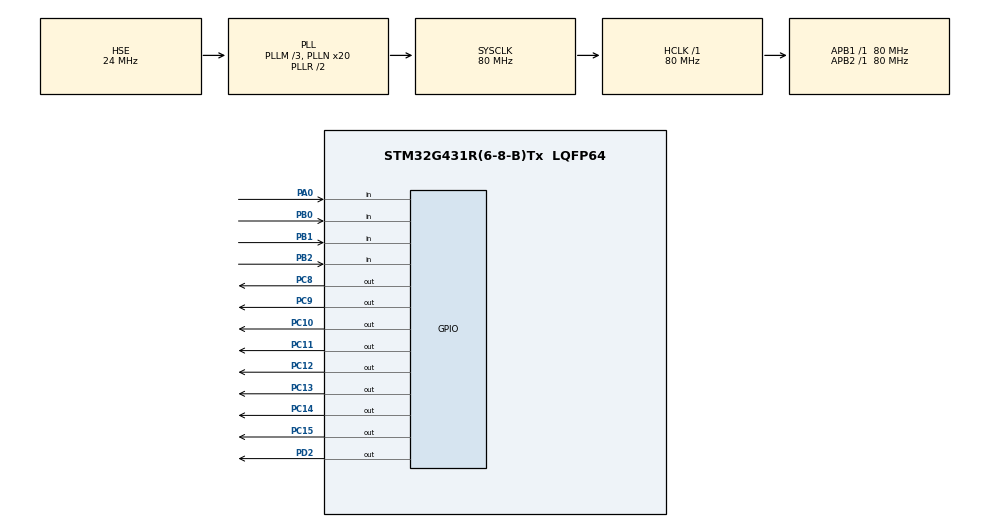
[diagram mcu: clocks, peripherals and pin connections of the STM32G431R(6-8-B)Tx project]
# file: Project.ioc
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Mcu.Family=STM32G4
Mcu.Name=STM32G431R(6-8-B)Tx
Mcu.Package=LQFP64
NVIC.PriorityGroup=NVIC_PRIORITYGROUP_4
NVIC.TIM3_IRQn=true\:0\:0\:false\:false\:true\:true\:true
PA0.GPIO_Mode=GPIO_MODE_INPUT
PA0.GPIO_PuPd=GPIO_PULLUP
PA0.Signal=GPIO_Input
PA13.Mode=Serial_Wire
PA13.Signal=SYS_JTMS-SWDIO
PA14.Mode=Serial_Wire
PA14.Signal=SYS_JTCK-SWCLK
PB0.GPIO_Mode=GPIO_MODE_INPUT
PB0.GPIO_PuPd=GPIO_PULLUP
PB0.Signal=GPIO_Input
PB1.GPIO_Mode=GPIO_MODE_INPUT
PB1.GPIO_PuPd=GPIO_PULLUP
PB1.Signal=GPIO_Input
PB2.GPIO_Mode=GPIO_MODE_INPUT
PB2.GPIO_PuPd=GPIO_PULLUP
PB2.Signal=GPIO_Input
PC10.PinState=GPIO_PIN_SET
PC10.Signal=GPIO_Output
PC11.PinState=GPIO_PIN_SET
PC11.Signal=GPIO_Output
PC12.PinState=GPIO_PIN_SET
PC12.Signal=GPIO_Output
PC13.PinState=GPIO_PIN_SET
PC13.Signal=GPIO_Output
PC14-OSC32_IN.PinState=GPIO_PIN_SET
PC14-OSC32_IN.Signal=GPIO_Output
PC15-OSC32_OUT.PinState=GPIO_PIN_SET
PC15-OSC32_OUT.Signal=GPIO_Output
PC8.PinState=GPIO_PIN_SET
PC8.Signal=GPIO_Output
PC9.PinState=GPIO_PIN_SET
PC9.Signal=GPIO_Output
PD2.Signal=GPIO_Output
PF0-OSC_IN.Mode=HSE-External-Oscillator
PF0-OSC_IN.Signal=RCC_OSC_IN
PF1-OSC_OUT.Mode=HSE-External-Oscillator
PF1-OSC_OUT.Signal=RCC_OSC_OUT
ProjectManager.HeapSize=0x200
ProjectManager.StackSize=0x400
ProjectManager.TargetToolchain=MDK-ARM V5.32
RCC.ADC12Freq_Value=80000000
RCC.AHBFreq_Value=80000000
RCC.APB1Freq_Value=80000000
RCC.APB1TimFreq_Value=80000000
RCC.APB2Freq_Value=80000000
RCC.APB2TimFreq_Value=80000000
RCC.CortexFreq_Value=80000000
RCC.EXTERNAL_CLOCK_VALUE=12288000
RCC.HCLKFreq_Value=80000000
RCC.HSE_VALUE=24000000
RCC.HSI48_VALUE=48000000
RCC.HSI_VALUE=16000000
RCC.LSE_VALUE=32768
RCC.PLLM=RCC_PLLM_DIV3
RCC.PLLN=20
RCC.PLLSourceVirtual=RCC_PLLSOURCE_HSE
RCC.SYSCLKFreq_VALUE=80000000
RCC.SYSCLKSource=RCC_SYSCLKSOURCE_PLLCLK
RCC.USBFreq_Value=80000000
RCC.VCOOutputFreq_Value=160000000
TIM3.PeriodNoDither=10000-1
TIM3.Prescaler=80-1
VP_SYS_VS_DBSignals.Mode=DisableDeadBatterySignals
VP_TIM3_VS_ClockSourceINT.Mode=Internal
board=custom

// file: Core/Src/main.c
/* USER CODE BEGIN Header */
/**
  ******************************************************************************
  * @file           : main.c
  * @brief          : Main program body
  ******************************************************************************
  * @attention
  *
  * <h2><center>&copy; Copyright (c) 2023 STMicroelectronics.
  * All rights reserved.</center></h2>
  *
  * This software component is licensed by ST under BSD 3-Clause license,
  * the "License"; You may not use this file except in compliance with the
  * License. You may obtain a copy of the License at:
  *                        opensource.org/licenses/BSD-3-Clause
  *
  ******************************************************************************
  */
/* USER CODE END Header */
#include "main.h"
#include "tim.h"
#include "gpio.h"

/* USER CODE BEGIN Includes */
#include "led.h"
#include "lcd.h"
#include "stdio.h"
#include "key.h"
/* USER CODE END Includes */

void SystemClock_Config(void);

int main(void)
{

  /* MCU Configuration--------------------------------------------------------*/

  /* Reset of all peripherals, Initializes the Flash interface and the Systick. */
  HAL_Init();

  /* Configure the system clock */
  SystemClock_Config();

  /* Initialize all configured peripherals */
  MX_GPIO_Init();
  MX_TIM3_Init();
  /* USER CODE BEGIN 2 */
	LED_Init();
	LCD_Init();
	LCD_Clear(Black);
	LCD_SetBackColor(Black);
	LCD_SetTextColor(White);

	HAL_TIM_Base_Start_IT(&htim3);

	char text[30];
  /* USER CODE END 2 */

  /* Infinite loop */
  /* USER CODE BEGIN WHILE */
  while (1)
  {
//		uint8_t i = 15;
		sprintf(text, "State: %d", myKey[1].KeyState);
		LCD_DisplayStringLine(Line4,(unsigned char *)text);
		if(myKey[1].KeyEvent == LongHold){
			LED_Disp(0x01);
			HAL_Delay(500);
			LED_Disp(0x00);
			myKey[1].KeyEvent = NoneEvent;
		}
		if(myKey[1].KeyEvent == SingleClick){
			LED_Disp(0x02);
			HAL_Delay(500);
			LED_Disp(0x00);
			myKey[1].KeyEvent = NoneEvent;
		}
		if(myKey[1].KeyEvent == DoubleClick){
			LED_Disp(0x03);
			HAL_Delay(500);
			LED_Disp(0x00);
			myKey[1].KeyEvent = NoneEvent;
		}
    /* USER CODE END WHILE */

  }
}

void SystemClock_Config(void)
{
  RCC_OscInitTypeDef RCC_OscInitStruct = {0};
  RCC_ClkInitTypeDef RCC_ClkInitStruct = {0};

  /** Configure the main internal regulator output voltage
  */
  HAL_PWREx_ControlVoltageScaling(PWR_REGULATOR_VOLTAGE_SCALE1);
  /** Initializes the RCC Oscillators according to the specified parameters
  * in the RCC_OscInitTypeDef structure.
  */
  RCC_OscInitStruct.OscillatorType = RCC_OSCILLATORTYPE_HSE;
  RCC_OscInitStruct.HSEState = RCC_HSE_ON;
  RCC_OscInitStruct.PLL.PLLState = RCC_PLL_ON;
  RCC_OscInitStruct.PLL.PLLSource = RCC_PLLSOURCE_HSE;
  RCC_OscInitStruct.PLL.PLLM = RCC_PLLM_DIV3;
  RCC_OscInitStruct.PLL.PLLN = 20;
  RCC_OscInitStruct.PLL.PLLP = RCC_PLLP_DIV2;
  RCC_OscInitStruct.PLL.PLLQ = RCC_PLLQ_DIV2;
  RCC_OscInitStruct.PLL.PLLR = RCC_PLLR_DIV2;
  if (HAL_RCC_OscConfig(&RCC_OscInitStruct) != HAL_OK)
  {
    Error_Handler();
  }
  /** Initializes the CPU, AHB and APB buses clocks
  */
  RCC_ClkInitStruct.ClockType = RCC_CLOCKTYPE_HCLK|RCC_CLOCKTYPE_SYSCLK
                              |RCC_CLOCKTYPE_PCLK1|RCC_CLOCKTYPE_PCLK2;
  RCC_ClkInitStruct.SYSCLKSource = RCC_SYSCLKSOURCE_PLLCLK;
  RCC_ClkInitStruct.AHBCLKDivider = RCC_SYSCLK_DIV1;
  RCC_ClkInitStruct.APB1CLKDivider = RCC_HCLK_DIV1;
  RCC_ClkInitStruct.APB2CLKDivider = RCC_HCLK_DIV1;

  if (HAL_RCC_ClockConfig(&RCC_ClkInitStruct, FLASH_LATENCY_2) != HAL_OK)
  {
    Error_Handler();
  }
}

void Error_Handler(void)
{
  __disable_irq();
  while (1)
  {
  }
}

/************************ (C) COPYRIGHT STMicroelectronics *****END OF FILE****/
